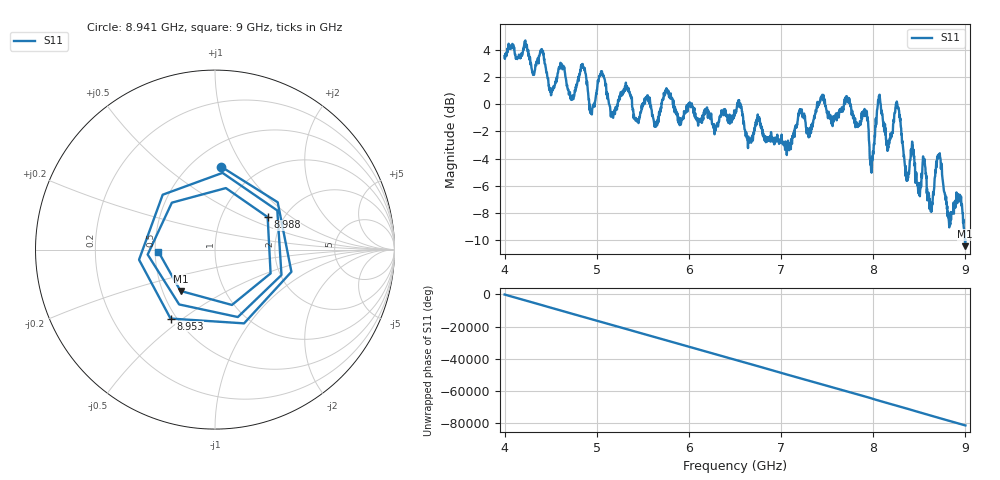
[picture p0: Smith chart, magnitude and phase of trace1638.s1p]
! Created with skrf 1.8.0 (http://scikit-rf.org).
# Hz S RI R 50.0
!freq ReS11 ImS11
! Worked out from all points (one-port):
!   1601 points, 4 GHz to 9 GHz, reference 50 ohm
!   lowest |S11| = -10.5 dB at 8.997 GHz (marker M1), VSWR 1.86, Z = 30.9 - j15.6 ohm
!   |S11| at or under -10 dB: 8.99481 GHz to end of sweep
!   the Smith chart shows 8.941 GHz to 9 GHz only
!   S11 on the Smith chart (normalised r, x): 8.941 GHz: 0.68, +0.81; 8.953 GHz: 0.46, -0.45; 8.988 GHz: 1.66, +0.68; 9 GHz: 0.52, -0.01
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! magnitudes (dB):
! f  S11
! 4 GHz  3.6
! 4.403 GHz  4.0
! 4.503 GHz  0.7
! 4.625 GHz  2.8
! 4.734 GHz  0.4
! 4.853 GHz  2.7
! 4.944 GHz  -0.5
! 5.05 GHz  2.2
! 5.25 GHz  0.4
! 5.875 GHz  -0.7
! 6.5 GHz  -0.7
! 7.125 GHz  -2.5
! 7.75 GHz  -0.1
! 7.922 GHz  -0.7
! 7.984 GHz  -5.0
! 8.059 GHz  0.4
! 8.162 GHz  -3.1
! 8.262 GHz  0.0
! 8.375 GHz  -5.2
! 8.553 GHz  -4.2
! 8.631 GHz  -7.8
! 8.716 GHz  -3.7
! 8.825 GHz  -9.1
! 8.941 GHz  -6.7
! 8.953 GHz  -6.8
! 8.988 GHz  -9.2
! 8.997 GHz  -10.5
! 9 GHz  -10.0
